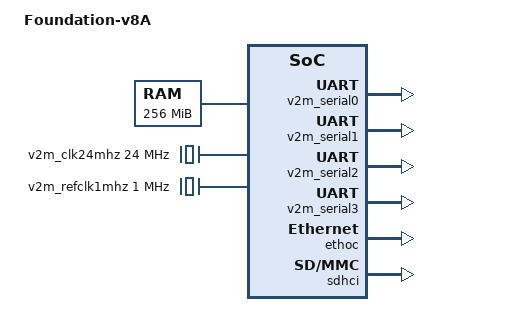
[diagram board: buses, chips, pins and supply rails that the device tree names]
/******************************************************************************
 *                                                                            *
 * Copyright 2020 Lukas Jünger                                                *
 *                                                                            *
 * Licensed under the Apache License, Version 2.0 (the "License");            *
 * you may not use this file except in compliance with the License.           *
 * You may obtain a copy of the License at                                    *
 *                                                                            *
 *     http://www.apache.org/licenses/LICENSE-2.0                             *
 *                                                                            *
 * Unless required by applicable law or agreed to in writing, software        *
 * distributed under the License is distributed on an "AS IS" BASIS,          *
 * WITHOUT WARRANTIES OR CONDITIONS OF ANY KIND, either express or implied.   *
 * See the License for the specific language governing permissions and        *
 * limitations under the License.                                             *
 *                                                                            *
 ******************************************************************************/

/dts-v1/;

/ {
	model = "Foundation-v8A";
	compatible = "arm,foundation-aarch64", "arm,vexpress";
	interrupt-parent = <&gic>;
	#address-cells = <1>;
	#size-cells = <1>;

	aliases {
		serial0 = &v2m_serial0;
		serial1 = &v2m_serial1;
		serial2 = &v2m_serial2;
		serial3 = &v2m_serial3;
	};

	cpus {
		#address-cells = <2>;
		#size-cells = <0>;

		cpu0: cpu@0 {
			device_type = "cpu";
			compatible = "arm,armv8";
			reg = <0x0 0x0>;
		};

	};

	chosen {
		bootargs = "earlycon console=ttyAMA0 root=/dev/mmcblk0p1 rootwait debug";
		stdout-path = "/amba/uart@10009000";
	};

	memory@40000000 {
		device_type= "memory";
		reg = <0x00000000 0x10000000>;
	};

timer {
		compatible = "arm,armv8-timer", "arm,armv7-timer";
		interrupts = <1 13 0xFF04>,
			     <1 14 0xFF04>,
			     <1 11 0xFF04>,
			     <1 10 0xFF04>;
		clock-frequency = <1000000000>;
	};

amba {
		#address-cells = <0x1>;
		#size-cells = <0x1>;
		compatible = "arm,amba-bus", "simple-bus";
		ranges;

		rng: rng@10007000 {
			compatible = "timeriomem_rng";
			reg = <0x10007000 0x4>;
			quality = <1000>;
			period = <0>;
		};

		v2m_serial0: uart@10009000 {
			compatible = "arm,pl011", "arm,primecell";
			reg = <0x10009000 0x1000>;
			interrupts = <0 5 4>;
			clocks = <&v2m_clk24mhz>, <&v2m_clk24mhz>;
			clock-names = "uartclk", "apb_pclk";
		};

		v2m_serial1: uart@1000a000 {
			compatible = "arm,pl011", "arm,primecell";
			reg = <0x1000a000 0x1000>;
			interrupts = <0 6 4>;
			clocks = <&v2m_clk24mhz>, <&v2m_clk24mhz>;
			clock-names = "uartclk", "apb_pclk";
		};

		v2m_serial2: uart@1000b000 {
			compatible = "arm,pl011", "arm,primecell";
			reg = <0x1000b000 0x1000>;
			interrupts = <0 7 4>;
			clocks = <&v2m_clk24mhz>, <&v2m_clk24mhz>;
			clock-names = "uartclk", "apb_pclk";
		};

		v2m_serial3: uart@1000c000 {
			compatible = "arm,pl011", "arm,primecell";
			reg = <0x1000c000 0x1000>;
			interrupts = <0 8 4>;
			clocks = <&v2m_clk24mhz>, <&v2m_clk24mhz>;
			clock-names = "uartclk", "apb_pclk";
		};

		gic: interrupt-controller@10140000 {
			compatible = "arm,cortex-a9-gic";
			#interrupt-cells = <3>;
			#address-cells = <0>;
			interrupt-controller;
			reg = <0x10140000 0x1000>,
			      <0x10141000 0x100>;
		};

		ethoc: ethernet@1000d000 {
			compatible = "opencores,ethoc";
			reg = <0x1000d000 0x2000>;
			interrupts = <0 9 4>;
		};

		sdhci: mmc@1000f000 {
			compatible = "fujitsu,mb86s70-sdhci-3.0";
			reg = <0x1000f000 0x1000>;
			interrupts = <0 10 4>;
			clocks = <&v2m_clk24mhz>, <&v2m_clk24mhz>;
			clock-names = "iface", "core";
		};

		nvdla: nvdla@0x10200000 {
			compatible = "nvidia,nvdla_os_initial";
			reg = <0x10200000 0x20000>;
			interrupts = <0 176 4>;
		};

		nvdlaextmem: extmem@0xC0000000 {
			compatible = "nvidia,nvdla-extmem";
			reg = <0xC0000000 0x40000000>;
		};

	};

	v2m_clk24mhz: clk24mhz {
		compatible = "fixed-clock";
		#clock-cells = <0>;
		clock-frequency = <24000000>;
		clock-output-names = "v2m:clk24mhz", "iface", "core";
	};

	v2m_refclk1mhz: refclk1mhz {
		compatible = "fixed-clock";
		#clock-cells = <0>;
		clock-frequency = <1000000>;
		clock-output-names = "v2m:refclk1mhz";
	};
};
